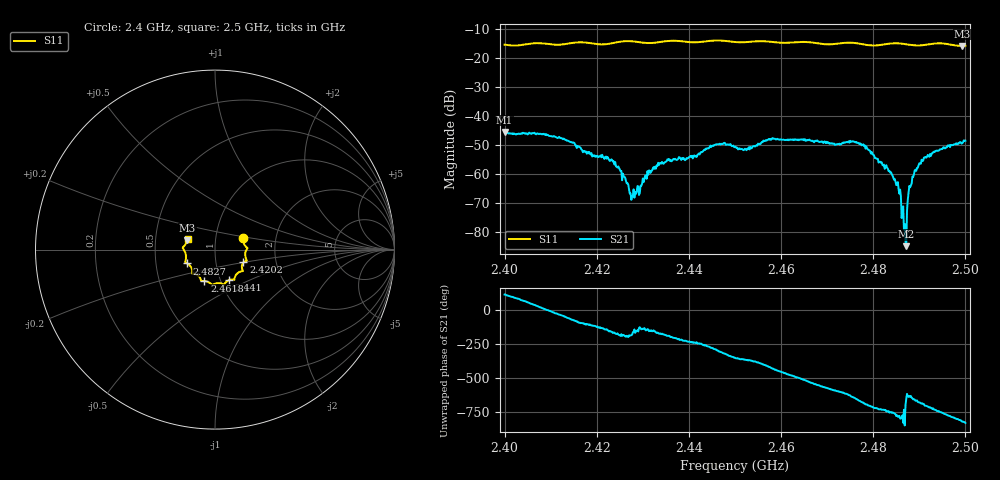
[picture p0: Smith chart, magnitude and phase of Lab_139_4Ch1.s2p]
# Hz S RI R 50
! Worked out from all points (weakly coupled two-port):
!   601 points, 2.4 GHz to 2.5 GHz, reference 50 ohm
!   highest |S21| = -45.40 dB at 2.4 GHz (marker M1); lowest = -84.7 dB at 2.4872 GHz (marker M2)
!   lowest |S11| = -15.8 dB at 2.4993 GHz (marker M3), VSWR 1.39, Z = 36.5 + j3.84 ohm
!   |S11| at or under -10 dB: start of sweep to end of sweep
!   S12 and S22 are empty: the file has one direction only
!   S11 on the Smith chart (normalised r, x): 2.4 GHz: 1.36, +0.18; 2.4202 GHz: 1.36, -0.20; 2.441 GHz: 1.10, -0.39; 2.4618 GHz: 0.84, -0.30; 2.4827 GHz: 0.72, -0.12; 2.5 GHz: 0.73, +0.09
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2.4e9  0.1586 0.0631  -0.00204 0.00497  0 0  0 0
2.409e9  0.1766 0.00146  0.00494 0.000162  0 0  0 0
2.416667e9  0.1771 -0.0608  -0.000279 -0.00267  0 0  0 0
2.420167e9  0.1587 -0.0712  -0.00112 -0.00174  0 0  0 0
2.423667e9  0.1505 -0.1039  -0.00163 -0.00041  0 0  0 0
2.427667e9  0.1539 -0.1198  -0.000412 1.14e-05  0 0  0 0
2.433333e9  0.1113 -0.1508  -0.00155 -0.000312  0 0  0 0
2.441e9  0.0788 -0.1697  -0.000973 0.0018  0 0  0 0
2.446167e9  0.0496 -0.1954  0.00143 0.00294  0 0  0 0
2.45e9  0.0284 -0.1874  0.00295 0.000507  0 0  0 0
2.461833e9  -0.059 -0.1753  -0.00165 -0.00358  0 0  0 0
2.466667e9  -0.0788 -0.1685  -0.00373 -0.000377  0 0  0 0
2.476833e9  -0.1269 -0.1253  0.00188 0.0029  0 0  0 0
2.482667e9  -0.1557 -0.0773  0.00133 -0.000281  0 0  0 0
2.483333e9  -0.1603 -0.0753  0.00106 -0.000403  0 0  0 0
2.4855e9  -0.1658 -0.0694  0.000267 -0.000487  0 0  0 0
2.486667e9  -0.1641 -0.0627  0.00011 -2.15e-05  0 0  0 0
2.487167e9  -0.1631 -0.0584  1.95e-05 5.46e-05  0 0  0 0
2.488167e9  -0.1616 -0.0475  1.47e-06 0.000644  0 0  0 0
2.4905e9  -0.1652 -0.0173  0.00148 0.000995  0 0  0 0
2.499333e9  -0.1541 0.0512  -0.000517 -0.0034  0 0  0 0
2.5e9  -0.1523 0.0606  -0.00112 -0.00362  0 0  0 0
